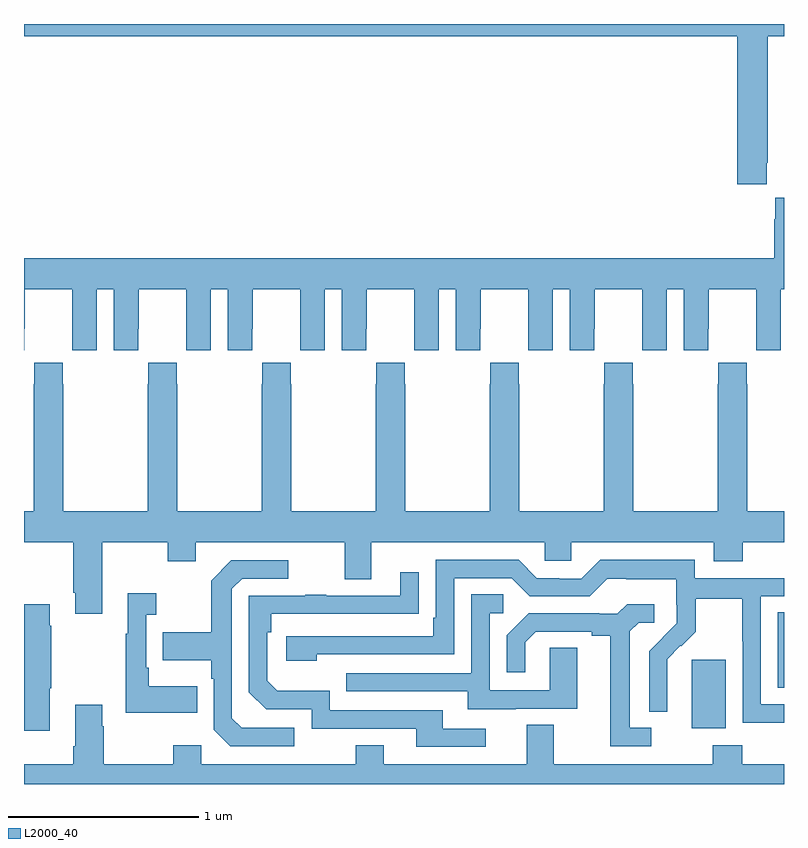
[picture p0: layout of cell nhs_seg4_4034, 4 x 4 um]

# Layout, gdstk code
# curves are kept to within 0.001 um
import gdstk
lib = gdstk.Library(unit=1e-6, precision=1e-09)
def R(c, l, rs):  # rectangles x0, y0, x1, y1
    for r in rs: c.add(gdstk.rectangle(r[:2], r[2:], *l))
def P(c, l, *ps):  # polygons
    for p in ps: c.add(gdstk.Polygon(p, *l))
L2000_40 = (2000, 40)

nhs_seg4_4034 = lib.new_cell('nhs_seg4_4034')
R(nhs_seg4_4034, L2000_40, [(328.514,777.194,328.693,777.555), (328.967,777.406,329,777.803)])
P(nhs_seg4_4034, L2000_40, [(328.909,780.169),(328.914,780.169),(328.914,780.836),(329,780.836),(329,780.9),(325,780.9),(325,780.836),(328.754,780.836),(328.754,780.057),(328.909,780.057)],
  [(325,779.184),(325.002,779.184),(325.002,779.296),(325.003,779.296),(325.003,779.504),(325.253,779.504),(325.253,779.296),(325.254,779.296),(325.254,779.184),(325.384,779.184),(325.384,779.504),(325.472,779.504),(325.472,779.184),(325.602,779.184),(325.602,779.296),(325.603,779.296),(325.603,779.504),(325.853,779.504),(325.853,779.296),(325.854,779.296),(325.854,779.184),(325.984,779.184),(325.984,779.504),(326.072,779.504),(326.072,779.184),(326.202,779.184),(326.202,779.296),(326.203,779.296),(326.203,779.504),(326.453,779.504),(326.453,779.296),(326.454,779.296),(326.454,779.184),(326.584,779.184),(326.584,779.504),(326.672,779.504),(326.672,779.184),(326.802,779.184),(326.802,779.296),(326.803,779.296),(326.803,779.504),(327.053,779.504),(327.053,779.296),(327.054,779.296),(327.054,779.184),(327.184,779.184),(327.184,779.504),(327.272,779.504),(327.272,779.184),(327.402,779.184),(327.402,779.296),(327.403,779.296),(327.403,779.504),(327.653,779.504),(327.653,779.296),(327.654,779.296),(327.654,779.184),(327.784,779.184),(327.784,779.504),(327.872,779.504),(327.872,779.184),(328.002,779.184),(328.002,779.296),(328.003,779.296),(328.003,779.504),(328.253,779.504),(328.253,779.296),(328.254,779.296),(328.254,779.184),(328.384,779.184),(328.384,779.504),(328.472,779.504),(328.472,779.184),(328.602,779.184),(328.602,779.296),(328.603,779.296),(328.603,779.504),(328.853,779.504),(328.853,779.296),(328.854,779.296),(328.854,779.184),(328.984,779.184),(328.984,779.504),(329,779.504),(329,779.986),(328.955,779.986),(328.955,779.873),(328.949,779.873),(328.949,779.668),(325,779.668)],
  [(325.411,778.172),(325.756,778.172),(325.756,778.073),(325.903,778.073),(325.903,778.172),(326.687,778.172),(326.687,777.978),(326.827,777.978),(326.827,778.172),(327.741,778.172),(327.741,778.074),(327.879,778.074),(327.879,778.172),(328.631,778.172),(328.631,778.073),(328.784,778.073),(328.784,778.172),(329,778.172),(329,778.336),(328.806,778.336),(328.806,779.003),(328.803,779.003),(328.803,779.116),(328.653,779.116),(328.653,779.003),(328.651,779.003),(328.651,778.336),(328.206,778.336),(328.206,779.003),(328.203,779.003),(328.203,779.116),(328.053,779.116),(328.053,779.003),(328.051,779.003),(328.051,778.336),(327.606,778.336),(327.606,779.003),(327.603,779.003),(327.603,779.116),(327.453,779.116),(327.453,779.003),(327.451,779.003),(327.451,778.336),(327.006,778.336),(327.006,779.003),(327.003,779.003),(327.003,779.116),(326.853,779.116),(326.853,779.003),(326.851,779.003),(326.851,778.336),(326.406,778.336),(326.406,779.003),(326.403,779.003),(326.403,779.116),(326.253,779.116),(326.253,779.003),(326.251,779.003),(326.251,778.336),(325.806,778.336),(325.806,779.003),(325.803,779.003),(325.803,779.116),(325.653,779.116),(325.653,779.003),(325.651,779.003),(325.651,778.336),(325.206,778.336),(325.206,779.003),(325.203,779.003),(325.203,779.116),(325.053,779.116),(325.053,779.003),(325.051,779.003),(325.051,778.336),(325,778.336),(325,778.172),(325.259,778.172),(325.259,777.907),(325.271,777.907),(325.271,777.795),(325.411,777.795)],
  [(329,777.321),(328.878,777.321),(328.878,777.888),(329,777.888),(329,777.984),(328.53,777.984),(328.53,778.081),(328.033,778.081),(327.933,777.981),(327.818,777.981),(327.818,777.984),(327.699,777.984),(327.603,778.08),(327.168,778.08),(327.168,777.775),(327.155,777.775),(327.155,777.678),(326.379,777.678),(326.379,777.548),(326.54,777.548),(326.54,777.582),(327.264,777.582),(327.264,777.984),(327.567,777.984),(327.663,777.888),(327.978,777.888),(328.071,777.981),(328.171,777.981),(328.171,777.977),(328.434,777.977),(328.434,777.843),(328.436,777.843),(328.436,777.746),(328.29,777.598),(328.29,777.28),(328.386,777.28),(328.385,777.557),(328.455,777.627),(328.458,777.624),(328.535,777.701),(328.535,777.876),(328.78,777.876),(328.78,777.652),(328.782,777.652),(328.782,777.223),(329,777.223)],
  [(326.422,777.195),(326.145,777.195),(326.094,777.246),(326.094,777.927),(326.148,777.981),(326.392,777.981),(326.392,778.077),(326.091,778.077),(325.986,777.971),(325.986,777.699),(325.729,777.699),(325.729,777.551),(325.986,777.551),(325.986,777.455),(325.998,777.455),(325.998,777.186),(326.085,777.099),(326.422,777.099)],
  [(327.43,777.192),(327.205,777.192),(327.205,777.288),(326.61,777.288),(326.61,777.391),(326.333,777.391),(326.28,777.444),(326.28,777.698),(326.3,777.698),(326.3,777.795),(327.077,777.796),(327.077,778.015),(326.981,778.015),(326.981,777.891),(326.591,777.891),(326.591,777.896),(326.479,777.896),(326.479,777.891),(326.184,777.891),(326.184,777.384),(326.274,777.294),(326.514,777.294),(326.514,777.192),(327.065,777.192),(327.065,777.096),(327.43,777.096)],
  [(325.913,777.415),(325.657,777.415),(325.657,777.511),(325.644,777.511),(325.644,777.791),(325.696,777.791),(325.696,777.904),(325.547,777.904),(325.547,777.691),(325.536,777.691),(325.536,777.275),(325.913,777.275)],
  [(327.589,777.297),(327.913,777.297),(327.913,777.617),(327.768,777.617),(327.768,777.393),(327.45,777.393),(327.45,777.798),(327.523,777.798),(327.523,777.899),(327.354,777.899),(327.354,777.483),(326.695,777.483),(326.695,777.387),(327.335,777.387),(327.335,777.293),(327.589,777.293)],
  [(325.135,777.403),(325.143,777.403),(325.143,777.734),(325.135,777.734),(325.135,777.847),(325,777.847),(325,777.18),(325.135,777.18)],
  [(328.3,777.195),(328.189,777.195),(328.189,777.703),(328.236,777.75),(328.318,777.75),(328.318,777.847),(328.174,777.847),(328.122,777.795),(328.028,777.795),(328.028,777.798),(327.656,777.798),(327.54,777.682),(327.54,777.489),(327.637,777.489),(327.637,777.645),(327.694,777.702),(327.989,777.702),(327.989,777.68),(328.085,777.68),(328.085,777.099),(328.3,777.099)],
  [(329,777.004),(328.779,777.004),(328.779,777.103),(328.624,777.103),(328.624,777.004),(327.787,777.004),(327.787,777.212),(327.647,777.212),(327.647,777.004),(326.893,777.004),(326.893,777.103),(326.746,777.103),(326.746,777.004),(325.932,777.004),(325.932,777.103),(325.786,777.103),(325.786,777.004),(325.419,777.004),(325.419,777.203),(325.411,777.203),(325.411,777.316),(325.271,777.316),(325.271,777.1),(325.259,777.1),(325.259,777.004),(325,777.004),(325,776.9),(329,776.9)])

lib.write_gds('nhs_seg4_4034.gds')
